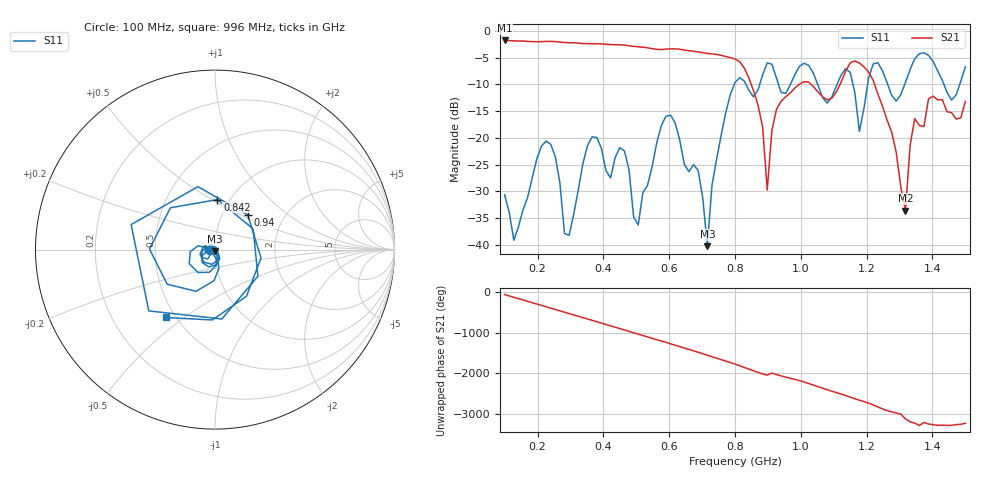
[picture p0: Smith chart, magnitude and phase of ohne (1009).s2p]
! NanoVNA-App
! Date: 2025-09-25 14:28:39
! Start: 100MHz Stop: 1,5GHz Points: 101
! S-Parameter data: F S11 S21 S12 S22
# Hz S RI R 50
!  Frequency  S11_Real  S11_Imag  S21_Real  S21_Imag  S12_Real  S12_Imag  S22_Real  S22_Imag
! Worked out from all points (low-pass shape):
!   101 points, 100 MHz to 1.5 GHz, reference 50 ohm
!   highest |S21| = -1.79 dB at 100 MHz (marker M1); lowest = -33.6 dB at 1.318 GHz (marker M2)
!   |S21| within 3 dB of the highest: start of sweep to 771.5 MHz
!   lowest |S11| = -40.2 dB at 716 MHz (marker M3), VSWR 1.02, Z = 49.8 - j0.956 ohm
!   |S11| at or under -10 dB: start of sweep to 797.8 MHz; 833.2 MHz to 875.1 MHz (41.86 MHz wide, 4.9 % of centre); 1.051 GHz to 1.11 GHz (58.88 MHz wide, 5.45 % of centre) (the widest 3 of 7)
!   S12 and S22 are empty: the file has one direction only
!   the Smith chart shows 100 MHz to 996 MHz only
!   S11 on the Smith chart (normalised r, x): 100 MHz: 0.94, -0.01; 842 MHz: 0.88, +0.53; 940 MHz: 1.32, +0.55; 996 MHz: 0.44, -0.43
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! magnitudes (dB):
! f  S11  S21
! 100 MHz  -30.6  -1.8
! 128 MHz  -39.1  -1.9
! 226 MHz  -20.6  -2.0
! 296 MHz  -38.2  -2.2
! 338 MHz  -24.8  -2.4
! 464 MHz  -22.4  -2.7
! 506 MHz  -36.3  -3.0
! 576 MHz  -17.7  -3.5
! 688 MHz  -26.1  -3.9
! 716 MHz  -40.2  -4.2
! 800 MHz  -9.7  -5.3
! 842 MHz  -11.1  -8.8
! 898 MHz  -6.0  -29.7
! 940 MHz  -11.5  -13.2
! 996 MHz  -6.6  -9.9
! 1.038 GHz  -7.9  -10.4
! 1.178 GHz  -18.8  -6.0
! 1.22 GHz  -6.2  -9.3
! 1.276 GHz  -12.0  -18.9
! 1.318 GHz  -9.6  -33.6
! 1.346 GHz  -5.2  -16.4
! 1.5 GHz  -6.7  -13.2
